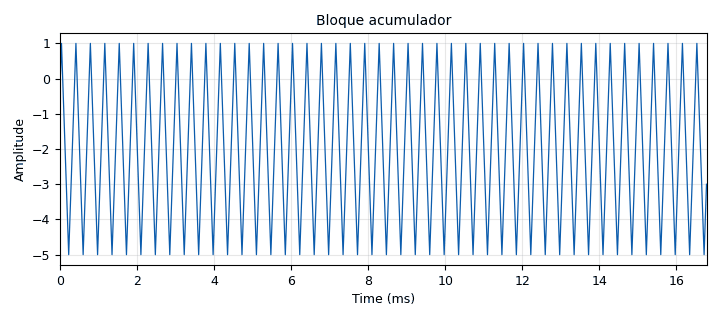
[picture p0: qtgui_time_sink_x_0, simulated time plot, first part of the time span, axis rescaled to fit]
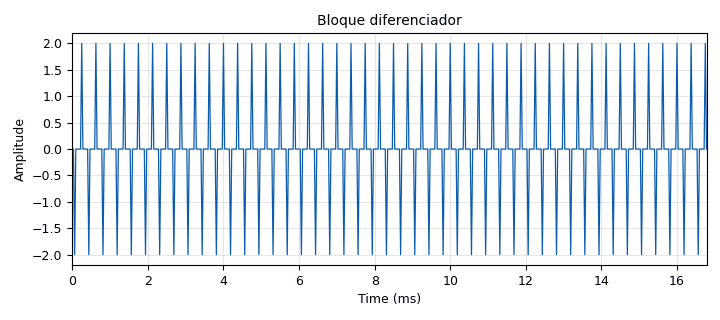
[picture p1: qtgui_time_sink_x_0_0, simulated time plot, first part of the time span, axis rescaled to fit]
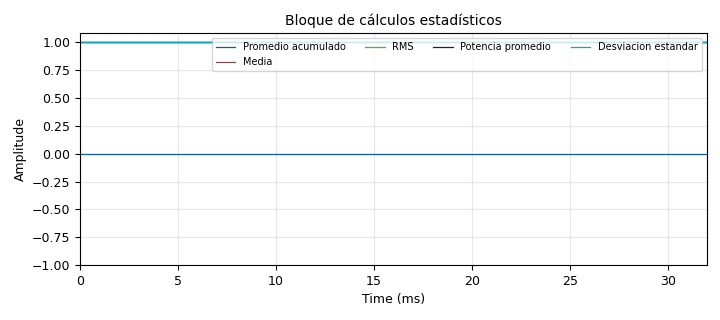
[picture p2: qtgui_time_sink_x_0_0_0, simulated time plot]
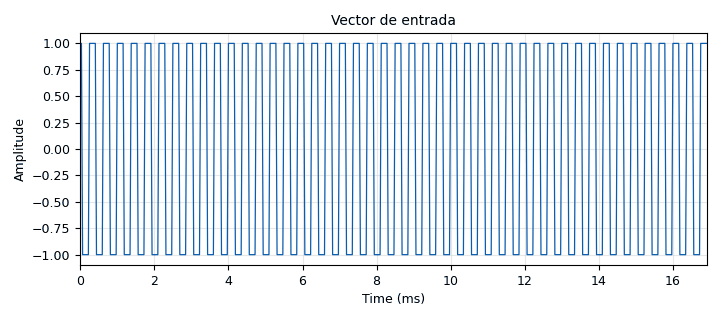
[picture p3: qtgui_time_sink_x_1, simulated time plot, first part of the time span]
options:
  parameters:
    author: Nohelia&Sebastian
    generate_options: qt_gui
    id: Practica_1
    output_language: python
    title: Not titled yet
  states: {}

blocks:
- name: samp_rate
  id: variable
  parameters:
    value: '32000'
  states: {}
- name: Prueba
  id: qtgui_tab_widget
  parameters:
    label0: Acumulador
    label1: Diferenciador
    label2: Estadísticas
    num_tabs: '3'
  states: {}
- name: blocks_vector_source_x_0
  id: blocks_vector_source_x
  parameters:
    alias: Vector de entrada
    repeat: 'True'
    type: float
    vector: (1,1,1,1,1,1,-1,-1,-1,-1,-1,-1)
  states: {}
- name: epy_block_0
  id: epy_block
  parameters:
    _source_code: |
      """
      Embedded Python Blocks:

      Each time this file is saved, GRC will instantiate the first class it finds
      to get ports and parameters of your block. The arguments to __init__  will
      be the parameters. All of them are required to have default values!
      """

      import numpy as np
      from gnuradio import gr


      class blk(gr.sync_block):
          def __init__(self): # only default arguments here
              gr.sync_block.__init__(
                  self,
                  name ='e_Acum', # will show up in GRC
                  in_sig = [np.float32],
                  out_sig = [np.float32]
              )
          def work(self, input_items, output_items):
              x = input_items[0] # Senial de entrada .
              y0 = output_items[0] # Senial acumulada
              y0[:] = np.cumsum(x)
              
              return len(y0)
    alias: Bloque acumulador
  states: {}
- name: epy_block_1
  id: epy_block
  parameters:
    _source_code: "\"\"\"\nEmbedded Python Blocks:\n\nEach time this file is saved, GRC will instantiate the first class it finds\nto get ports and parameters of your block. The arguments to __init__  will\nbe the parameters. All of them are required to have default values!\n\"\"\"\nimport numpy as np\nfrom gnuradio import gr\n\nclass blk(gr.sync_block):\n    def __init__(self):\n        gr.sync_block.__init__(\n            self,\n            name='e_diff', # aparecerá en GRC\n            in_sig=[np.float32],\n            out_sig=[np.float32]\n        )\n        self.last_sample = 0.0 # última muestra del bloque anterior\n\n    def work(self, input_items, output_items):\n        x = input_items[0] # señal de entrada\n        y0 = output_items[0] # señal de salida (diferenciada)\n\n        # Calcular diferencias\n        y0[0] = x[0] - self.last_sample # primera diferencia usando la memoria\n        y0[1:] = np.diff(x) # diferencias dentro del bloque\n\n        # Guardar la última muestra del bloque actual\n        self.last_sample = x[-1]\n\n        return len(y0)\n\n\n"
    alias: Bloque diferenciador
  states: {}
- name: epy_block_2
  id: epy_block
  parameters:
    _source_code: |
      """
      Embedded Python Blocks:

      Each time this file is saved, GRC will instantiate the first class it finds
      to get ports and parameters of your block. The arguments to __init__  will
      be the parameters. All of them are required to have default values!
      """

      import numpy as np
      from gnuradio import gr


      class blk(gr.sync_block):
          def __init__(self): # solo argumentos por defecto
              gr.sync_block.__init__(
                  self,
                  name='Promedios_de_tiempos', # Nombre que aparecerá en GRC
                  in_sig=[np.float32],
                  out_sig=[np.float32, np.float32, np.float32, np.float32, np.float32]
              )
              # Inicialización de acumuladores
              self.acum_anterior = 0.0
              self.acum_anterior1 = 0.0
              self.acum_anterior2 = 0.0
              self.Ntotales = 0

          def work(self, input_items, output_items):
              x = input_items[0] # Señal de entrada
              y0 = output_items[0] # Promedio acumulado
              y1 = output_items[1] # Media (esperanza matemática)
              y2 = output_items[2] # RMS
              y3 = output_items[3] # Potencia promedio
              y4 = output_items[4] # Desviación estándar

              # Número de muestras en este bloque
       

              # Cálculo del promedio
         
              y0[:] = np.mean(x)

              # Cálculo de la media cuadrática (para RMS)

              media_cuadratica = np.mean(x**2)

              # RMS
              y2[:] = np.sqrt(media_cuadratica)

              # Potencia promedio
              y3[:] = media_cuadratica

              # Media (simplemente el promedio)
              y1[:] = media_cuadratica

              # Desviación estándar

              y4[:] = np.std(x)

              return len(x)
    alias: Bloque de cálculos estadísticos
  states: {}
- name: qtgui_time_sink_x_0
  id: qtgui_time_sink_x
  parameters:
    gui_hint: Prueba@0
    name: '"Bloque acumulador"'
    size: '1024'
    srate: samp_rate
    type: float
  states: {}
- name: qtgui_time_sink_x_0_0
  id: qtgui_time_sink_x
  parameters:
    gui_hint: Prueba@1
    name: '"Bloque diferenciador"'
    size: '1024'
    srate: samp_rate
    type: float
  states: {}
- name: qtgui_time_sink_x_0_0_0
  id: qtgui_time_sink_x
  parameters:
    gui_hint: Prueba@2
    label1: Promedio acumulado
    label2: Media
    label3: RMS
    label4: Potencia promedio
    label5: Desviacion estandar
    name: '"Bloque de cálculos estadísticos"'
    nconnections: '5'
    size: '1024'
    srate: samp_rate
    type: float
  states: {}
- name: qtgui_time_sink_x_1
  id: qtgui_time_sink_x
  parameters:
    autoscale: 'True'
    name: '"Vector de entrada"'
    size: '1024'
    srate: samp_rate
    type: float
  states: {}

connections:
- [blocks_vector_source_x_0, '0', epy_block_0, '0']
- [blocks_vector_source_x_0, '0', epy_block_1, '0']
- [blocks_vector_source_x_0, '0', epy_block_2, '0']
- [blocks_vector_source_x_0, '0', qtgui_time_sink_x_1, '0']
- [epy_block_0, '0', qtgui_time_sink_x_0, '0']
- [epy_block_1, '0', qtgui_time_sink_x_0_0, '0']
- [epy_block_2, '0', qtgui_time_sink_x_0_0_0, '0']
- [epy_block_2, '1', qtgui_time_sink_x_0_0_0, '1']
- [epy_block_2, '2', qtgui_time_sink_x_0_0_0, '2']
- [epy_block_2, '3', qtgui_time_sink_x_0_0_0, '3']
- [epy_block_2, '4', qtgui_time_sink_x_0_0_0, '4']

metadata:
  file_format: 1
  grc_version: v3.10.11.0-89-ga17f69e7
